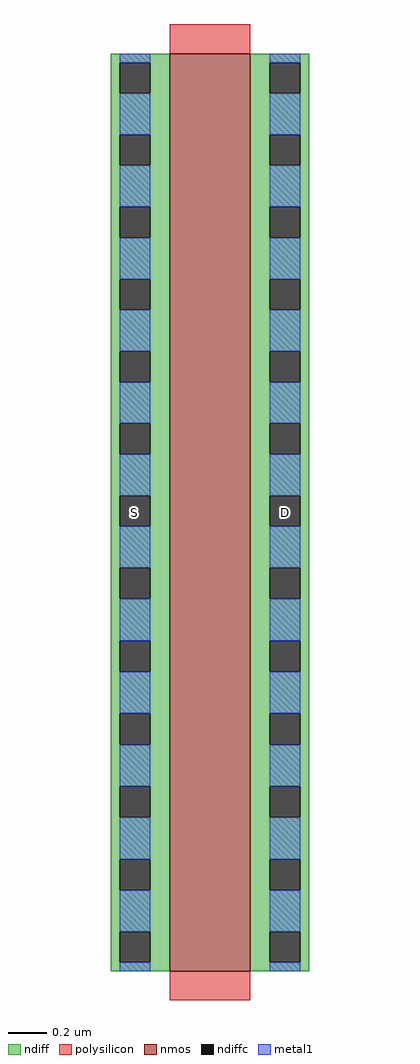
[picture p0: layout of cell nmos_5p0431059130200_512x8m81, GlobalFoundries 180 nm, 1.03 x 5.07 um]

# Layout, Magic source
magic
tech gf180mcuD
magscale 1 10
<< nmos >>
rect 0 0 84 953
<< ndiff >>
rect -61 944 0 953
rect -61 912 -52 944
rect -20 912 0 944
rect -61 869 0 912
rect -61 837 -52 869
rect -20 837 0 869
rect -61 794 0 837
rect -61 762 -52 794
rect -20 762 0 794
rect -61 719 0 762
rect -61 687 -52 719
rect -20 687 0 719
rect -61 644 0 687
rect -61 612 -52 644
rect -20 612 0 644
rect -61 569 0 612
rect -61 537 -52 569
rect -20 537 0 569
rect -61 494 0 537
rect -61 462 -52 494
rect -20 462 0 494
rect -61 419 0 462
rect -61 387 -52 419
rect -20 387 0 419
rect -61 343 0 387
rect -61 311 -52 343
rect -20 311 0 343
rect -61 268 0 311
rect -61 235 -52 268
rect -20 235 0 268
rect -61 192 0 235
rect -61 160 -52 192
rect -20 160 0 192
rect -61 116 0 160
rect -61 84 -52 116
rect -20 84 0 116
rect -61 41 0 84
rect -61 9 -52 41
rect -20 9 0 41
rect -61 0 0 9
rect 84 944 145 953
rect 84 912 104 944
rect 136 912 145 944
rect 84 869 145 912
rect 84 837 104 869
rect 136 837 145 869
rect 84 794 145 837
rect 84 762 104 794
rect 136 762 145 794
rect 84 719 145 762
rect 84 687 104 719
rect 136 687 145 719
rect 84 644 145 687
rect 84 612 104 644
rect 136 612 145 644
rect 84 569 145 612
rect 84 537 104 569
rect 136 537 145 569
rect 84 494 145 537
rect 84 462 104 494
rect 136 462 145 494
rect 84 419 145 462
rect 84 387 104 419
rect 136 387 145 419
rect 84 343 145 387
rect 84 311 104 343
rect 136 311 145 343
rect 84 268 145 311
rect 84 235 104 268
rect 136 235 145 268
rect 84 192 145 235
rect 84 160 104 192
rect 136 160 145 192
rect 84 116 145 160
rect 84 84 104 116
rect 136 84 145 116
rect 84 41 145 84
rect 84 9 104 41
rect 136 9 145 41
rect 84 0 145 9
<< ndiffc >>
rect -52 912 -20 944
rect -52 837 -20 869
rect -52 762 -20 794
rect -52 687 -20 719
rect -52 612 -20 644
rect -52 537 -20 569
rect -52 462 -20 494
rect -52 387 -20 419
rect -52 311 -20 343
rect -52 235 -20 268
rect -52 160 -20 192
rect -52 84 -20 116
rect -52 9 -20 41
rect 104 912 136 944
rect 104 837 136 869
rect 104 762 136 794
rect 104 687 136 719
rect 104 612 136 644
rect 104 537 136 569
rect 104 462 136 494
rect 104 387 136 419
rect 104 311 136 343
rect 104 235 136 268
rect 104 160 136 192
rect 104 84 136 116
rect 104 9 136 41
<< polysilicon >>
rect 0 953 84 984
rect 0 -30 84 0
<< metal1 >>
rect -52 944 -20 953
rect -52 869 -20 912
rect -52 794 -20 837
rect -52 719 -20 762
rect -52 644 -20 687
rect -52 569 -20 612
rect -52 494 -20 537
rect -52 419 -20 462
rect -52 343 -20 387
rect -52 268 -20 311
rect -52 192 -20 235
rect -52 116 -20 160
rect -52 41 -20 84
rect -52 0 -20 9
rect 104 944 136 953
rect 104 869 136 912
rect 104 794 136 837
rect 104 719 136 762
rect 104 644 136 687
rect 104 569 136 612
rect 104 494 136 537
rect 104 419 136 462
rect 104 343 136 387
rect 104 268 136 311
rect 104 192 136 235
rect 104 116 136 160
rect 104 41 136 84
rect 104 0 136 9
<< labels >>
flabel ndiffc -36 476 -36 476 0 FreeSans 140 0 0 0 S
flabel ndiffc 120 476 120 476 0 FreeSans 140 0 0 0 D
<< end >>
